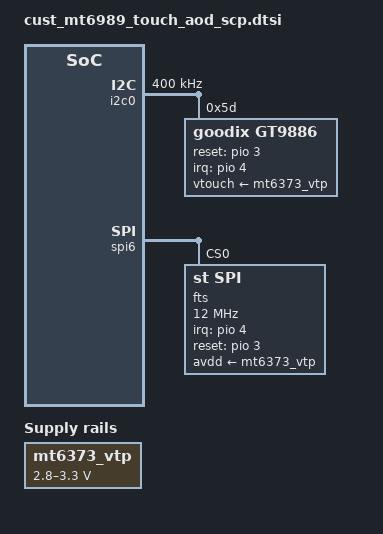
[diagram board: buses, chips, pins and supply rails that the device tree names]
// SPDX-License-Identifier: GPL-2.0
/*
 * Copyright (c) 2019 MediaTek Inc.
 */
/* TOUCH start */
&i2c0 {
	#address-cells = <1>;
	#size-cells = <0>;
	clock-frequency = <400000>;
	pinctrl-names = "default", "ts_int_active",
		"ts_reset_active", "ts_int_suspend",
		"ts_reset_suspend", "ts_i2c_mode";
	pinctrl-0 = <&ctp_pins_default>;
	pinctrl-1 = <&ctp_ts_int_active>;
	pinctrl-2 = <&ctp_ts_reset_active>;
	pinctrl-3 = <&ctp_ts_int_suspend>;
	pinctrl-4 = <&ctp_ts_reset_suspend>;
	pinctrl-5 = <&ctp_ts_i2c_mode>;

	gt9886@5d {
		compatible = "goodix,gt9886";
		reg = <0x5d>;
		status = "ok";
		interrupt-parent = <&pio>;
		interrupts = <4 IRQ_TYPE_EDGE_FALLING 4 0>;
		vtouch-supply = <&mt6373_vtp>;
		goodix,reset-gpio = <&pio 3 0x0>;
		goodix,irq-gpio = <&pio 4 0x0>;
		goodix,irq-flags = <2>; /* 1:rising, 2:falling;*/
		goodix,panel-max-id = <10>;
		goodix,panel-max-x = <1080>;
		goodix,panel-max-y = <2340>;
		goodix,panel-max-w = <256>;
		goodix,panel-max-p = <256>;
		goodix,input-max-x = <1080>;
		goodix,input-max-y = <2340>;
		goodix,panel-key-map = <158 172 217>; /*BACK,HOMEPAGE,SEARCH*/
		goodix,power-on-delay-us = <10000>; /*10ms*/
		goodix,power-off-delay-us = <5000>;
		goodix,firmware-version = "6885af";
		goodix,config-version = "90hz6885";
		/*goodix,swap-axis;*/
		/*goodix,x2x;*/
		/*goodix,y2y;*/
		goodix,pen-enable;
		goodix,key-of-pen = <331 332>;/*BTN_STYLUS, BTN_STYLUS2*/
		tpd-filter-enable = <0>;
		tpd-filter-pixel-density = <161>;
		tpd-filter-custom-prameters = <0 0 0 0 0 0 0 0 0 0 0 0>;
		tpd-filter-custom-speed = <0 0 0>;
	};

};

&spi6 {
	status = "okay";
	#address-cells = <1>;
	#size-cells = <0>;
	fts@0 {
		status = "ok";
		compatible = "st,spi";
		reg = <0x0>;
		interrupt-parent = <&pio>;
		interrupts = <4 0x2008>;
		pinctrl-names = "pmx_ts_active", "pmx_ts_suspend", "pmx_ts_spi_mode";
		pinctrl-0 = <&ts_reset_active &ts_int_active>;
		pinctrl-1 = <&ts_int_suspend &ts_reset_suspend>;
		pinctrl-2 = <&ts_spi_mode>;
		avdd-supply = <&mt6373_vtp>;
		fts,config-array-size = <1>;
		fts,pwr-reg-name = "avdd";
		//fts,bus-reg-name = "vdd";
		fts,irq-gpio = <&pio 4 0x0>;
		fts,irq-gpio-name = "fts_irq";
		fts,reset-gpio-enable;
		fts,reset-gpio = <&pio 3 0x0>;
		fts,reset-gpio-name = "fts_rst";
		fts,irq-flags = <0x2008>;/* 1:rising, 2:falling;*/
		fts,x-max = <14400>;/*Super resolution*/
		fts,y-max = <32000>;/*Super resolution*/
		fts,screen-x = <1440>;
		fts,screen-y = <3200>;
		//fts,fod-lx = <4180>;
		//fts,fod-ly = <16810>;
		fts,support-super-resolution = <1>;
		spi-max-frequency = <12000000>;
		fts,default-fw-name = "st_fts_L11a.ftb";
		fts,thp-fw-name = "st_fts_L11a_thp.ftb";
/*		fts,touch-up-threshold-min = <40>;	*/
/*		fts,touch-up-threshold-max = <120>;	*/
/*		fts,touch-up-threshold-def = <80>;	*/
/*		fts,touch-tolerance-min = <5>;		*/
/*		fts,touch-tolerance-max = <35>;		*/
/*		fts,touch-tolerance-def = <25>;*/
		fts,touch-follow-performance-def = <3>;
		fts,touch-tap-sensitivity-def = <4>;
		fts,touch-aim-sensitivity-def = <3>;
		fts,touch-tap-stability-def = <3>;
		fts,cornerfilter-area-step1 = <100>;
		fts,cornerfilter-area-step2 = <170>;
		fts,cornerfilter-area-step3 = <250>;
		fts,touch-deadzone-filter-ver = <2 0 0 0 0 0 0 0
						 2 1 0 0 0 0 0 0
						 2 2 0 0 0 2399 0 0
						 2 3 1079 0 1079 2399 0 0>;
		fts,touch-deadzone-filter-hor = <2 0 0 0 1079 0 0 0
						 2 1 0    2399 1079 2399 0 0
						 2 2 0    0    0    2399 0 0
						 2 3 1079 0    1079 2399 0 0>;
		fts,touch-edgezone-filter-ver = <1 0 0 0 0 0 0 0
						 1 1 0    0 0    0    0 0
						 1 2 0    0 40   2339 0 0
						 1 3 1039 0 1079 2339 0 0>;
		fts,touch-edgezone-filter-hor = <1 0 0 0 1079 40 0 0
						 1 1 0    2359 1079 2399 0 0
						 1 2 0    0    40   2399 0 0
						 1 3 1039 0    1079 2399 0 0>;
		fts,touch-cornerzone-filter-ver = <0 0 0 0 0 0 0 0
						   0 1 0   0    0    0    0 0
						   0 2 0   2099 150  2399 0 0
						   0 3 929 2099 1079 2399 0 0>;
		fts,touch-cornerzone-filter-hor1 = <0 0 0 0 170 170 0 0
						    0 1 0 0    0   0    0 0
						    0 2 0 2229 170 2399 0 0
						    0 3 0 0    0   0    0 0>;
		fts,touch-cornerzone-filter-hor2 = <0 0 0 0 0 0 0 0
						    0 1 909 0    1079 170  0 0
						    0 2 0   0    0    0    0 0
						    0 3 909 2229 1079 2399 0 0>;
		fts,touch-follow-performance = <10 15 1
						8 15 1
						6 15 1
						4 15 1
						2 15 1>;
		fts,touch-tap-sensitivity = <150 140 130 120 110>;
		fts,touch-aim-sensitivity = <8 6 5 3 2>;
		fts,touch-tap-stability = <8 12 15 18 25>;
		fts,touch-expert-array = <2 15 1 120 3 15
					  4 15 1 120 2 15
					  6 15 1 120 5 15>;
		fts,cfg {
			fts,tp-vendor = <0x38>;
			fts,tp-color = <0x32>;
			fts,fw-name = "st_fts_L11a.ftb";
			fts,limit-name = "stm_fts_production_limits.csv";
		};
	};
};

&mt6373_vtp {
	regulator-boot-on;
	regulator-min-microvolt = <2800000>;
	regulator-max-microvolt = <3300000>;
};

&pio {
	ctp_pins_default: eintdefault {
	};
	ctp_ts_int_active: int-active {
		pins-cmd-dat {
			pinmux = <PINMUX_GPIO4__FUNC_GPIO4>;
			input-enable;
		};
	};
	ctp_ts_reset_active: reset-active {
		pins-cmd-dat {
			pinmux = <PINMUX_GPIO3__FUNC_GPIO3>;
			output-high;
		};
	};
	ctp_ts_int_suspend: int-suspend {
		pins-cmd-dat {
			pinmux = <PINMUX_GPIO4__FUNC_GPIO4>;
			output-low;
		};
	};
	ctp_ts_reset_suspend: reset-suspend {
		pins-cmd-dat {
			pinmux = <PINMUX_GPIO3__FUNC_GPIO3>;
			output-low;
		};
	};
	ctp_ts_i2c_mode: i2cmode-default {
		pins-cmd-dat {
			pinmux = <PINMUX_GPIO223__FUNC_SCL0>,
				<PINMUX_GPIO224__FUNC_SDA0>;
		};
	};
	ts_reset_active: ts-reset-active {
		pins-cmd-dat {
			pinmux = <PINMUX_GPIO3__FUNC_GPIO3>;
			output-high;
		};
	};
	ts_int_active: ts-int-active {
		pins-cmd-dat {
			pinmux = <PINMUX_GPIO4__FUNC_GPIO4>;
			bias-pull-up;
			input-enable;
		};
	};
	ts_int_suspend: ts-int-suspend {
		pins-cmd-dat {
			pinmux = <PINMUX_GPIO4__FUNC_GPIO4>;
			slew-rate = <1>;
			bias-pull-down;
		};
	};
	ts_reset_suspend: ts-reset-suspend {
		pins-cmd-dat {
			pinmux = <PINMUX_GPIO3__FUNC_GPIO3>;
			slew-rate = <1>;
			bias-pull-down;
		};
	};
	ts_spi_mode: ts-spimode {
		pins-cmd-dat {
			pinmux = <PINMUX_GPIO231__FUNC_SPI6_B_CLK>,
				<PINMUX_GPIO232__FUNC_SPI6_B_CSB>,
				<PINMUX_GPIO233__FUNC_SPI6_B_MO>,
				<PINMUX_GPIO234__FUNC_SPI6_B_MI>;
			drive-strength = <2>;
		};
	};
};
&odm {
	tc8_touch: tc8-touch {
		compatible = "tc8sp-touch";
		status = "ok";
		touch,name = "tc8sp-touch";
	};
};
/* TOUCH end */
